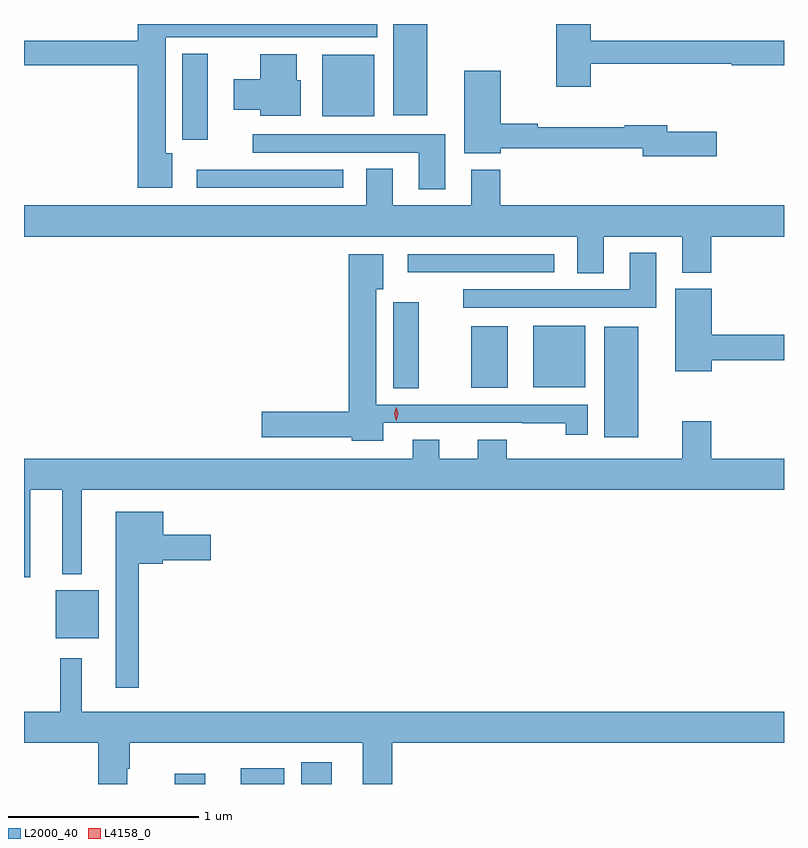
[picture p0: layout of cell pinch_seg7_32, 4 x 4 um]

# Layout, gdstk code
import gdstk
lib = gdstk.Library(unit=1e-6, precision=1e-09)
def R(c, l, rs):  # rectangles x0, y0, x1, y1
    for r in rs: c.add(gdstk.rectangle(r[:2], r[2:], *l))
def P(c, l, *ps):  # polygons
    for p in ps: c.add(gdstk.Polygon(p, *l))
L2000_40 = (2000, 40)
L4158_0 = (4158, 0)

pinch_seg7_32 = lib.new_cell('pinch_seg7_32')
R(pinch_seg7_32, L2000_40, [(1057.541,1061.671,1057.702,1061.725), (1057.887,1061.671,1058.118,1061.755), (1058.207,1061.671,1058.368,1061.785), (1056.914,1062.437,1057.141,1062.691), (1059.8,1063.496,1059.979,1064.077), (1058.69,1063.753,1058.824,1064.206), (1059.101,1063.757,1059.292,1064.08), (1059.428,1063.76,1059.7,1064.083), (1058.766,1064.364,1059.538,1064.46), (1057.656,1064.808,1058.428,1064.904), (1057.58,1065.063,1057.714,1065.515), (1058.318,1065.185,1058.59,1065.508), (1058.69,1065.191,1058.869,1065.671)])
P(pinch_seg7_32, L2000_40, [(1057.528,1064.992),(1057.492,1064.992),(1057.492,1065.6),(1058.605,1065.6),(1058.605,1065.671),(1057.346,1065.671),(1057.346,1065.583),(1056.747,1065.583),(1056.747,1065.454),(1057.346,1065.454),(1057.346,1064.81),(1057.528,1064.81)],
  [(1059.731,1065.462),(1060.472,1065.462),(1060.472,1065.454),(1060.747,1065.454),(1060.747,1065.583),(1059.731,1065.583),(1059.731,1065.671),(1059.548,1065.671),(1059.548,1065.342),(1059.731,1065.342)],
  [(1058.203,1065.375),(1058.182,1065.375),(1058.182,1065.511),(1057.991,1065.511),(1057.991,1065.379),(1057.851,1065.379),(1057.851,1065.221),(1057.991,1065.221),(1057.991,1065.188),(1058.203,1065.188)],
  [(1060.393,1065.105),(1060.132,1065.105),(1060.132,1065.139),(1059.908,1065.139),(1059.908,1065.128),(1059.452,1065.128),(1059.452,1065.146),(1059.256,1065.146),(1059.256,1065.424),(1059.065,1065.424),(1059.065,1064.99),(1059.256,1064.99),(1059.256,1065.018),(1060.004,1065.018),(1060.004,1064.975),(1060.393,1064.975)],
  [(1058.965,1065.09),(1057.95,1065.09),(1057.95,1064.994),(1058.825,1064.994),(1058.825,1064.802),(1058.965,1064.802)],
  [(1059.799,1064.552),(1060.211,1064.552),(1060.211,1064.363),(1060.364,1064.363),(1060.364,1064.552),(1060.747,1064.552),(1060.747,1064.716),(1059.254,1064.716),(1059.254,1064.905),(1059.101,1064.905),(1059.101,1064.716),(1058.689,1064.716),(1058.689,1064.909),(1058.549,1064.909),(1058.549,1064.716),(1056.747,1064.716),(1056.747,1064.552),(1059.659,1064.552),(1059.659,1064.359),(1059.799,1064.359)],
  [(1060.075,1064.467),(1059.935,1064.467),(1059.935,1064.274),(1059.06,1064.274),(1059.06,1064.178),(1060.075,1064.178)],
  [(1058.638,1063.572),(1059.37,1063.572),(1059.37,1063.571),(1059.598,1063.571),(1059.598,1063.509),(1059.715,1063.509),(1059.715,1063.668),(1058.602,1063.668),(1058.602,1064.276),(1058.638,1064.276),(1058.638,1064.458),(1058.456,1064.458),(1058.456,1063.631),(1057.998,1063.631),(1057.998,1063.496),(1058.472,1063.496),(1058.472,1063.478),(1058.638,1063.478)],
  [(1060.366,1063.9),(1060.747,1063.9),(1060.747,1064.036),(1060.366,1064.036),(1060.366,1064.278),(1060.175,1064.278),(1060.175,1063.844),(1060.366,1063.844)],
  [(1056.781,1063.22),(1056.947,1063.22),(1056.947,1062.776),(1057.051,1062.776),(1057.051,1063.22),(1060.747,1063.22),(1060.747,1063.384),(1060.364,1063.384),(1060.364,1063.579),(1060.211,1063.579),(1060.211,1063.384),(1059.287,1063.384),(1059.287,1063.483),(1059.134,1063.483),(1059.134,1063.384),(1058.932,1063.384),(1058.932,1063.483),(1058.792,1063.483),(1058.792,1063.384),(1056.747,1063.384),(1056.747,1062.759),(1056.781,1062.759)],
  [(1057.351,1062.83),(1057.476,1062.83),(1057.476,1062.848),(1057.729,1062.848),(1057.729,1062.982),(1057.48,1062.982),(1057.48,1063.105),(1057.229,1063.105),(1057.229,1062.177),(1057.351,1062.177)],
  [(1057.291,1061.75),(1057.304,1061.75),(1057.304,1061.888),(1058.531,1061.888),(1058.531,1061.671),(1058.684,1061.671),(1058.684,1061.888),(1060.747,1061.888),(1060.747,1062.052),(1057.051,1062.052),(1057.051,1062.334),(1056.937,1062.334),(1056.937,1062.052),(1056.747,1062.052),(1056.747,1061.888),(1057.139,1061.888),(1057.139,1061.671),(1057.291,1061.671)])
P(pinch_seg7_32, L4158_0, [(1058.706,1063.583),(1058.706,1063.583),(1058.696,1063.619),(1058.706,1063.655),(1058.706,1063.655),(1058.706,1063.655),(1058.716,1063.619),(1058.706,1063.583)])

lib.write_gds('pinch_seg7_32.gds')
